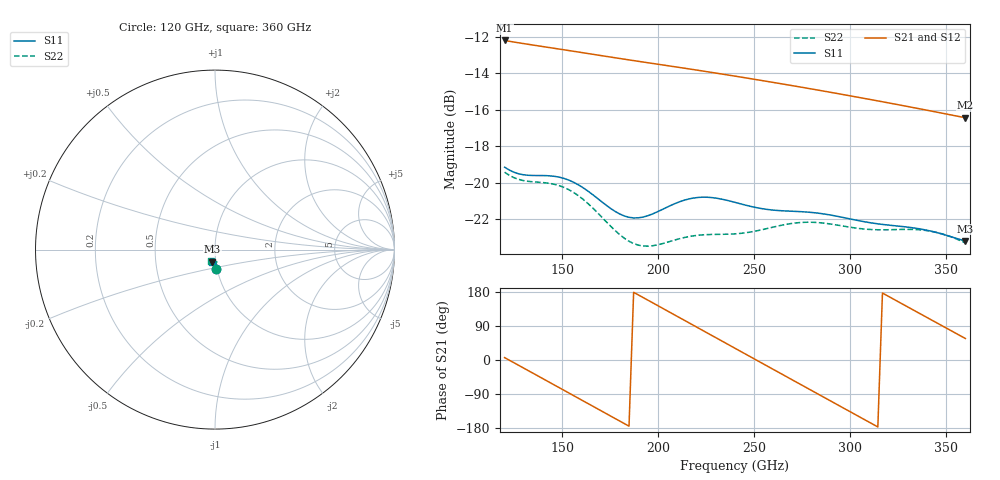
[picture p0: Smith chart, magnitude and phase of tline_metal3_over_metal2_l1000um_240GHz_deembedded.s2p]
! Created with skrf 2.0.1 (http://scikit-rf.org).
# GHz S DB R 50.0
!freq dBS11 angS11 dBS21 angS21 dBS12 angS12 dBS22 angS22
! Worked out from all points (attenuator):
!   101 points, 120 GHz to 360 GHz, reference 50 ohm
!   highest |S21| = -12.20 dB at 120 GHz (marker M1); lowest = -16.4 dB at 360 GHz (marker M2)
!   lowest |S11| = -23.2 dB at 360 GHz (marker M3), VSWR 1.15, Z = 48 - j6.52 ohm
!   |S11| at or under -10 dB: start of sweep to end of sweep
!   |S22| runs from -23.5 to -19.4 dB; largest |S21 - S12| = 2e-13
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120  -19.15 -88.1  -12.20 6.3  -12.20 6.3  -19.42 -86.1
129.6  -19.56 -85.9  -12.37 -20.4  -12.37 -20.4  -19.88 -84.0
141.6  -19.61 -86.2  -12.57 -53.9  -12.57 -53.9  -20.01 -84.7
151.2  -19.77 -89.0  -12.72 -80.7  -12.72 -80.7  -20.27 -88.0
160.8  -20.27 -92.0  -12.88 -107.6  -12.88 -107.6  -20.90 -91.7
172.8  -21.22 -93.0  -13.08 -141.1  -13.08 -141.1  -22.12 -93.4
182.4  -21.82 -90.3  -13.23 -167.9  -13.23 -167.9  -23.04 -90.9
192  -21.88 -86.5  -13.38 165.2  -13.38 165.2  -23.47 -86.3
201.6  -21.49 -84.7  -13.53 138.4  -13.53 138.4  -23.35 -82.7
211.2  -21.04 -85.9  -13.69 111.6  -13.69 111.6  -23.06 -81.7
220.8  -20.81 -88.9  -13.84 84.7  -13.84 84.7  -22.88 -82.4
240  -21.08 -94.7  -14.16 31.0  -14.16 31.0  -22.80 -83.7
249.6  -21.33 -96.0  -14.32 4.1  -14.32 4.1  -22.67 -84.1
259.2  -21.49 -96.7  -14.49 -22.7  -14.49 -22.7  -22.45 -85.2
271.2  -21.57 -97.7  -14.70 -56.2  -14.70 -56.2  -22.21 -88.2
280.8  -21.64 -99.1  -14.88 -83.0  -14.88 -83.0  -22.17 -91.2
290.4  -21.78 -100.5  -15.06 -109.8  -15.06 -109.8  -22.27 -94.0
302.4  -22.04 -101.7  -15.29 -143.2  -15.29 -143.2  -22.48 -96.4
312  -22.22 -102.0  -15.47 -170.0  -15.47 -170.0  -22.57 -97.8
321.6  -22.34 -102.3  -15.66 163.3  -15.66 163.3  -22.57 -99.4
340.8  -22.62 -103.5  -16.04 109.9  -16.04 109.9  -22.64 -104.9
360  -23.19 -102.9  -16.44 56.7  -16.44 56.7  -23.30 -110.9
